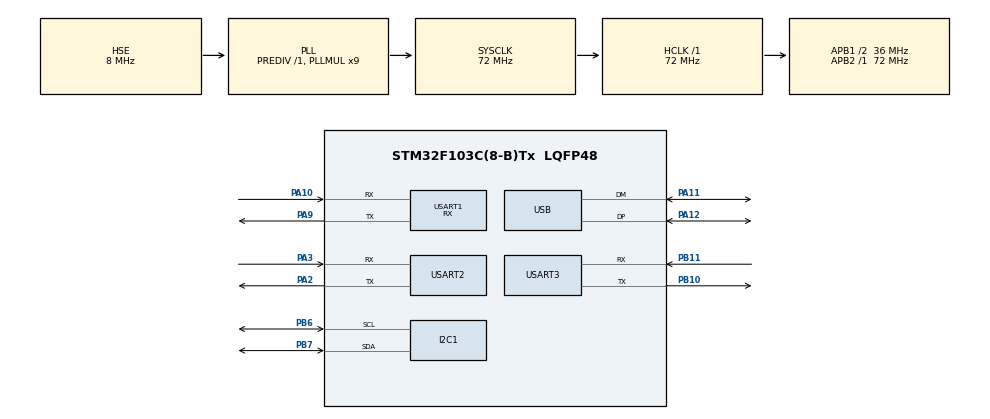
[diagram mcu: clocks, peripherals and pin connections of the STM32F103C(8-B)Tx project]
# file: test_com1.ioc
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FREERTOS.Tasks01=defaultTask,0,128,StartDefaultTask,Default,NULL
Mcu.Family=STM32F1
Mcu.Name=STM32F103C(8-B)Tx
Mcu.Package=LQFP48
NVIC.PriorityGroup=NVIC_PRIORITYGROUP_4
NVIC.TIM1_UP_IRQn=true\:0\:0\:false\:false\:true\:false\:false
NVIC.TimeBase=TIM1_UP_IRQn
NVIC.TimeBaseIP=TIM1
NVIC.USART1_IRQn=true\:5\:0\:false\:false\:true\:true\:true
NVIC.USART2_IRQn=true\:5\:0\:false\:false\:true\:true\:true
NVIC.USART3_IRQn=true\:5\:0\:false\:false\:true\:true\:true
NVIC.USB_HP_CAN1_TX_IRQn=true\:5\:0\:false\:false\:true\:true\:true
NVIC.USB_LP_CAN1_RX0_IRQn=true\:5\:0\:false\:false\:true\:true\:false
PA10.Mode=Asynchronous
PA10.Signal=USART1_RX
PA11.Mode=Device
PA11.Signal=USB_DM
PA12.Mode=Device
PA12.Signal=USB_DP
PA13.Mode=Serial_Wire
PA13.Signal=SYS_JTMS-SWDIO
PA14.Mode=Serial_Wire
PA14.Signal=SYS_JTCK-SWCLK
PA2.Mode=Asynchronous
PA2.Signal=USART2_TX
PA3.Mode=Asynchronous
PA3.Signal=USART2_RX
PA9.Mode=Asynchronous
PA9.Signal=USART1_TX
PB10.Mode=Asynchronous
PB10.Signal=USART3_TX
PB11.Mode=Asynchronous
PB11.Signal=USART3_RX
PB6.Mode=I2C
PB6.Signal=I2C1_SCL
PB7.Mode=I2C
PB7.Signal=I2C1_SDA
PD0-OSC_IN.Mode=HSE-External-Oscillator
PD0-OSC_IN.Signal=RCC_OSC_IN
PD1-OSC_OUT.Mode=HSE-External-Oscillator
PD1-OSC_OUT.Signal=RCC_OSC_OUT
ProjectManager.HeapSize=0x200
ProjectManager.StackSize=0x400
ProjectManager.TargetToolchain=SW4STM32
RCC.AHBFreq_Value=72000000
RCC.APB1CLKDivider=RCC_HCLK_DIV2
RCC.APB1Freq_Value=36000000
RCC.APB1TimFreq_Value=72000000
RCC.APB2Freq_Value=72000000
RCC.APB2TimFreq_Value=72000000
RCC.HCLKFreq_Value=72000000
RCC.PLLMUL=RCC_PLL_MUL9
RCC.PLLSourceVirtual=RCC_PLLSOURCE_HSE
RCC.SYSCLKFreq_VALUE=72000000
RCC.SYSCLKSource=RCC_SYSCLKSOURCE_PLLCLK
RCC.USBFreq_Value=48000000
RCC.USBPrescaler=RCC_USBCLKSOURCE_PLL_DIV1_5
USART1.Mode=MODE_RX
USART1.VirtualMode=VM_ASYNC
USART2.VirtualMode=VM_ASYNC
USART3.VirtualMode=VM_ASYNC
USB_DEVICE.CLASS_NAME_FS=CDC
USB_DEVICE.VirtualMode=Cdc
USB_DEVICE.VirtualModeFS=Cdc_FS
VP_FREERTOS_VS_ENABLE.Mode=Enabled
VP_SYS_VS_tim1.Mode=TIM1
VP_USB_DEVICE_VS_USB_DEVICE_CDC_FS.Mode=CDC_FS
board=custom

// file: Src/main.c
/**
  ******************************************************************************
  * @file           : main.c
  * @brief          : Main program body
  ******************************************************************************
  * This notice applies to any and all portions of this file
  * that are not between comment pairs USER CODE BEGIN and
  * USER CODE END. Other portions of this file, whether
  * inserted by the user or by software development tools
  * are owned by their respective copyright owners.
  *
  * Copyright (c) 2018 STMicroelectronics International N.V.
  * All rights reserved.
  *
  * Redistribution and use in source and binary forms, with or without
  * modification, are permitted, provided that the following conditions are met:
  *
  * 1. Redistribution of source code must retain the above copyright notice,
  *    this list of conditions and the following disclaimer.
  * 2. Redistributions in binary form must reproduce the above copyright notice,
  *    this list of conditions and the following disclaimer in the documentation
  *    and/or other materials provided with the distribution.
  * 3. Neither the name of STMicroelectronics nor the names of other
  *    contributors to this software may be used to endorse or promote products
  *    derived from this software without specific written permission.
  * 4. This software, including modifications and/or derivative works of this
  *    software, must execute solely and exclusively on microcontroller or
  *    microprocessor devices manufactured by or for STMicroelectronics.
  * 5. Redistribution and use of this software other than as permitted under
  *    this license is void and will automatically terminate your rights under
  *    this license.
  *
  * THIS SOFTWARE IS PROVIDED BY STMICROELECTRONICS AND CONTRIBUTORS "AS IS"
  * AND ANY EXPRESS, IMPLIED OR STATUTORY WARRANTIES, INCLUDING, BUT NOT
  * LIMITED TO, THE IMPLIED WARRANTIES OF MERCHANTABILITY, FITNESS FOR A
  * PARTICULAR PURPOSE AND NON-INFRINGEMENT OF THIRD PARTY INTELLECTUAL PROPERTY
  * RIGHTS ARE DISCLAIMED TO THE FULLEST EXTENT PERMITTED BY LAW. IN NO EVENT
  * SHALL STMICROELECTRONICS OR CONTRIBUTORS BE LIABLE FOR ANY DIRECT, INDIRECT,
  * INCIDENTAL, SPECIAL, EXEMPLARY, OR CONSEQUENTIAL DAMAGES (INCLUDING, BUT NOT
  * LIMITED TO, PROCUREMENT OF SUBSTITUTE GOODS OR SERVICES; LOSS OF USE, DATA,
  * OR PROFITS; OR BUSINESS INTERRUPTION) HOWEVER CAUSED AND ON ANY THEORY OF
  * LIABILITY, WHETHER IN CONTRACT, STRICT LIABILITY, OR TORT (INCLUDING
  * NEGLIGENCE OR OTHERWISE) ARISING IN ANY WAY OUT OF THE USE OF THIS SOFTWARE,
  * EVEN IF ADVISED OF THE POSSIBILITY OF SUCH DAMAGE.
  *
  ******************************************************************************
  */
#include "main.h"
#include "stm32f1xx_hal.h"
#include "cmsis_os.h"
#include "usb_device.h"

/* USER CODE BEGIN Includes */
#include "mpu6050.h"
#include "memsense_nanoimu.h"
#include "novatel_gps.h"
/* USER CODE END Includes */

I2C_HandleTypeDef hi2c1;

UART_HandleTypeDef huart1;
UART_HandleTypeDef huart2;
UART_HandleTypeDef huart3;

osThreadId defaultTaskHandle;
osThreadId imuComTaskHandle;
osThreadId gpsComTaskHandle;

/* USER CODE BEGIN PV */
/* Private variables ---------------------------------------------------------*/
typedef struct
{
  uint8_t flag;
  char file[100];
  uint32_t line;
}Error;

Error error;

/* UART status declaration */
__IO ITStatus Uart1Ready = RESET;
__IO ITStatus Uart2Ready = RESET;
__IO ITStatus Uart3Ready = RESET;

/* Imu MPU6050 */
MPU6050Imu imu6050;
/* Novatel GPS OEMV-1 */
NovatelGPS novatelGps;
/* MemSense NanoImu */
MEMSenseImu nanoImu;
int counter;
#define BXYZ_PSTAT    (D_HDR_LEN)
#define BXYZ_PTYPE    (D_HDR_LEN+4)
#define BXYZ_PX     (D_HDR_LEN+8)
#define BXYZ_PY     (D_HDR_LEN+16)
#define BXYZ_PZ     (D_HDR_LEN+24)
#define BXYZ_sPX    (D_HDR_LEN+32)
#define BXYZ_sPY    (D_HDR_LEN+36)
#define BXYZ_sPZ    (D_HDR_LEN+40)

/* USER CODE END PV */

void SystemClock_Config(void);
static void MX_GPIO_Init(void);
static void MX_I2C1_Init(void);
static void MX_USART1_UART_Init(void);
static void MX_USART2_UART_Init(void);
static void MX_USART3_UART_Init(void);
void StartDefaultTask(void const * argument);

/* USER CODE BEGIN PFP */
/* Private function prototypes -----------------------------------------------*/
void ImuComTask(void const * argument);
void GpsComTask(void const * argument);

/* USER CODE END PFP */

int main(void)
{

  /* MCU Configuration----------------------------------------------------------*/

  /* Reset of all peripherals, Initializes the Flash interface and the Systick. */
  HAL_Init();

  /* Configure the system clock */
  SystemClock_Config();

  /* Initialize all configured peripherals */
  MX_GPIO_Init();
  MX_I2C1_Init();
  MX_USART1_UART_Init();
  MX_USART2_UART_Init();
  MX_USART3_UART_Init();
  /* USER CODE BEGIN 2 */

  MPU6050_configDevice(&imu6050, &hi2c1, 0, 0);
  NANOIMU_configDevice(&nanoImu, &huart1);
  NOVATELGPS_configDevice(&novatelGps, &huart2);
  counter = 0;

  /*Init error flag*/
  error.flag = 0;
  error.file[0] = '\0';
  error.line = 0;
  /* USER CODE END 2 */

  /* Create the thread(s) */
  /* definition and creation of defaultTask */
  osThreadDef(defaultTask, StartDefaultTask, osPriorityNormal, 0, 128);
  defaultTaskHandle = osThreadCreate(osThread(defaultTask), NULL);

  /* USER CODE BEGIN RTOS_THREADS */
  /* add threads, ... */

  osThreadDef(imuTask, ImuComTask, osPriorityNormal, 0, 128);
  imuComTaskHandle = osThreadCreate(osThread(imuTask), NULL);

  osThreadDef(gpsTask, GpsComTask, osPriorityNormal, 0, 128);
  gpsComTaskHandle = osThreadCreate(osThread(gpsTask), NULL);
  /* USER CODE END RTOS_THREADS */

  /* Start scheduler */
  osKernelStart();

  /* We should never get here as control is now taken by the scheduler */

  /* Infinite loop */
  while (1)
  {

  }

}

void SystemClock_Config(void)
{

  RCC_OscInitTypeDef RCC_OscInitStruct;
  RCC_ClkInitTypeDef RCC_ClkInitStruct;
  RCC_PeriphCLKInitTypeDef PeriphClkInit;

    /**Initializes the CPU, AHB and APB busses clocks
    */
  RCC_OscInitStruct.OscillatorType = RCC_OSCILLATORTYPE_HSE;
  RCC_OscInitStruct.HSEState = RCC_HSE_ON;
  RCC_OscInitStruct.HSEPredivValue = RCC_HSE_PREDIV_DIV1;
  RCC_OscInitStruct.HSIState = RCC_HSI_ON;
  RCC_OscInitStruct.PLL.PLLState = RCC_PLL_ON;
  RCC_OscInitStruct.PLL.PLLSource = RCC_PLLSOURCE_HSE;
  RCC_OscInitStruct.PLL.PLLMUL = RCC_PLL_MUL9;
  if (HAL_RCC_OscConfig(&RCC_OscInitStruct) != HAL_OK)
  {
    _Error_Handler(__FILE__, __LINE__);
  }

    /**Initializes the CPU, AHB and APB busses clocks
    */
  RCC_ClkInitStruct.ClockType = RCC_CLOCKTYPE_HCLK|RCC_CLOCKTYPE_SYSCLK
                              |RCC_CLOCKTYPE_PCLK1|RCC_CLOCKTYPE_PCLK2;
  RCC_ClkInitStruct.SYSCLKSource = RCC_SYSCLKSOURCE_PLLCLK;
  RCC_ClkInitStruct.AHBCLKDivider = RCC_SYSCLK_DIV1;
  RCC_ClkInitStruct.APB1CLKDivider = RCC_HCLK_DIV2;
  RCC_ClkInitStruct.APB2CLKDivider = RCC_HCLK_DIV1;

  if (HAL_RCC_ClockConfig(&RCC_ClkInitStruct, FLASH_LATENCY_2) != HAL_OK)
  {
    _Error_Handler(__FILE__, __LINE__);
  }

  PeriphClkInit.PeriphClockSelection = RCC_PERIPHCLK_USB;
  PeriphClkInit.UsbClockSelection = RCC_USBCLKSOURCE_PLL_DIV1_5;
  if (HAL_RCCEx_PeriphCLKConfig(&PeriphClkInit) != HAL_OK)
  {
    _Error_Handler(__FILE__, __LINE__);
  }

    /**Configure the Systick interrupt time
    */
  HAL_SYSTICK_Config(HAL_RCC_GetHCLKFreq()/1000);

    /**Configure the Systick
    */
  HAL_SYSTICK_CLKSourceConfig(SYSTICK_CLKSOURCE_HCLK);

  /* SysTick_IRQn interrupt configuration */
  HAL_NVIC_SetPriority(SysTick_IRQn, 15, 0);
}

/* I2C1 init function */
static void MX_I2C1_Init(void)
{

  hi2c1.Instance = I2C1;
  hi2c1.Init.ClockSpeed = 100000;
  hi2c1.Init.DutyCycle = I2C_DUTYCYCLE_2;
  hi2c1.Init.OwnAddress1 = 0;
  hi2c1.Init.AddressingMode = I2C_ADDRESSINGMODE_7BIT;
  hi2c1.Init.DualAddressMode = I2C_DUALADDRESS_DISABLE;
  hi2c1.Init.OwnAddress2 = 0;
  hi2c1.Init.GeneralCallMode = I2C_GENERALCALL_DISABLE;
  hi2c1.Init.NoStretchMode = I2C_NOSTRETCH_DISABLE;
  if (HAL_I2C_Init(&hi2c1) != HAL_OK)
  {
    _Error_Handler(__FILE__, __LINE__);
  }

}

/* USART1 init function */
static void MX_USART1_UART_Init(void)
{

  huart1.Instance = USART1;
  huart1.Init.BaudRate = 115200;
  huart1.Init.WordLength = UART_WORDLENGTH_8B;
  huart1.Init.StopBits = UART_STOPBITS_1;
  huart1.Init.Parity = UART_PARITY_NONE;
  huart1.Init.Mode = UART_MODE_RX;
  huart1.Init.HwFlowCtl = UART_HWCONTROL_NONE;
  huart1.Init.OverSampling = UART_OVERSAMPLING_16;
  if (HAL_UART_Init(&huart1) != HAL_OK)
  {
    _Error_Handler(__FILE__, __LINE__);
  }

}

/* USART2 init function */
static void MX_USART2_UART_Init(void)
{

  huart2.Instance = USART2;
  huart2.Init.BaudRate = 115200;
  huart2.Init.WordLength = UART_WORDLENGTH_8B;
  huart2.Init.StopBits = UART_STOPBITS_1;
  huart2.Init.Parity = UART_PARITY_NONE;
  huart2.Init.Mode = UART_MODE_TX_RX;
  huart2.Init.HwFlowCtl = UART_HWCONTROL_NONE;
  huart2.Init.OverSampling = UART_OVERSAMPLING_16;
  if (HAL_UART_Init(&huart2) != HAL_OK)
  {
    _Error_Handler(__FILE__, __LINE__);
  }

}

/* USART3 init function */
static void MX_USART3_UART_Init(void)
{

  huart3.Instance = USART3;
  huart3.Init.BaudRate = 115200;
  huart3.Init.WordLength = UART_WORDLENGTH_8B;
  huart3.Init.StopBits = UART_STOPBITS_1;
  huart3.Init.Parity = UART_PARITY_NONE;
  huart3.Init.Mode = UART_MODE_TX_RX;
  huart3.Init.HwFlowCtl = UART_HWCONTROL_NONE;
  huart3.Init.OverSampling = UART_OVERSAMPLING_16;
  if (HAL_UART_Init(&huart3) != HAL_OK)
  {
    _Error_Handler(__FILE__, __LINE__);
  }

}

/** Configure pins as
        * Analog
        * Input
        * Output
        * EVENT_OUT
        * EXTI
        * Free pins are configured automatically as Analog (this feature is enabled through
        * the Code Generation settings)
*/
static void MX_GPIO_Init(void)
{

  GPIO_InitTypeDef GPIO_InitStruct;

  /* GPIO Ports Clock Enable */
  __HAL_RCC_GPIOC_CLK_ENABLE();
  __HAL_RCC_GPIOD_CLK_ENABLE();
  __HAL_RCC_GPIOA_CLK_ENABLE();
  __HAL_RCC_GPIOB_CLK_ENABLE();

  /*Configure GPIO pins : PC13 PC14 PC15 */
  GPIO_InitStruct.Pin = GPIO_PIN_13|GPIO_PIN_14|GPIO_PIN_15;
  GPIO_InitStruct.Mode = GPIO_MODE_ANALOG;
  HAL_GPIO_Init(GPIOC, &GPIO_InitStruct);

  /*Configure GPIO pins : PA0 PA1 PA4 PA5
                           PA6 PA7 PA8 PA15 */
  GPIO_InitStruct.Pin = GPIO_PIN_0|GPIO_PIN_1|GPIO_PIN_4|GPIO_PIN_5
                          |GPIO_PIN_6|GPIO_PIN_7|GPIO_PIN_8|GPIO_PIN_15;
  GPIO_InitStruct.Mode = GPIO_MODE_ANALOG;
  HAL_GPIO_Init(GPIOA, &GPIO_InitStruct);

  /*Configure GPIO pins : PB0 PB1 PB2 PB12
                           PB13 PB14 PB15 PB3
                           PB4 PB5 PB8 PB9 */
  GPIO_InitStruct.Pin = GPIO_PIN_0|GPIO_PIN_1|GPIO_PIN_2|GPIO_PIN_12
                          |GPIO_PIN_13|GPIO_PIN_14|GPIO_PIN_15|GPIO_PIN_3
                          |GPIO_PIN_4|GPIO_PIN_5|GPIO_PIN_8|GPIO_PIN_9;
  GPIO_InitStruct.Mode = GPIO_MODE_ANALOG;
  HAL_GPIO_Init(GPIOB, &GPIO_InitStruct);

}

/* USER CODE BEGIN 4 */

/**
  * @brief  Tx Transfer completed callback
  * @param  UartHandle: UART handle.
  * @note   This example shows a simple way to report end of IT Tx transfer, and
  *         you can add your own implementation.
  * @retval None
  */
void HAL_UART_TxCpltCallback(UART_HandleTypeDef *UartHandle)
{
  /* Set transmission flag: transfer complete */
  if (UartHandle->Instance == USART1)
  {
    Uart1Ready = SET;
  }

  if (UartHandle->Instance == USART2)
  {
    Uart2Ready = SET;
  }

  if (UartHandle->Instance == USART3)
  {
    Uart3Ready = SET;
  }

}

/**
  * @brief  Rx Transfer completed callback
  * @param  UartHandle: UART handle
  * @note   This example shows a simple way to report end of IT Rx transfer, and
  *         you can add your own implementation.
  * @retval None
  */
void HAL_UART_RxCpltCallback(UART_HandleTypeDef *UartHandle)
{
  /* Set transmission flag: transfer complete */
  if (UartHandle->Instance == USART1)
  {
    Uart1Ready = SET;
  }

  if (UartHandle->Instance == USART2)
  {
    Uart2Ready = SET;
  }

  if (UartHandle->Instance == USART3)
  {
    Uart3Ready = SET;
  }

}

/**
  * @brief  UART error callbacks
  * @param  UartHandle: UART handle
  * @note   This example shows a simple way to report transfer error, and you can
  *         add your own implementation.
  * @retval None
  */
void HAL_UART_ErrorCallback(UART_HandleTypeDef *UartHandle)
{
  if (UartHandle->Instance == USART1)
  {
    nanoImu.status = HAL_UART_GetError(UartHandle);
    Uart1Ready = SET;
  }

  if (UartHandle->Instance == USART2)
  {
    novatelGps.status = HAL_UART_GetError(UartHandle);
    Uart2Ready = SET;
  }

  if (UartHandle->Instance == USART3)
  {
    Error_Handler();
  }
}

/**
  * @brief  Function implementing the imuTask thread.
  * @param  argument: Not used
  * @retval None
  */
void ImuComTask(void const * argument)
{
  for(;;)
  {
    volatile uint8_t *nano_data = nanoImu.data;
    volatile uint8_t *mpu_data = imu6050.lastData;

    if(HAL_UART_Receive_IT(nanoImu.UARTInterface, nanoImu.data, IMU_PACKET_SIZE) != HAL_OK)
    {
      Error_Handler();
    }

    while (Uart1Ready != SET)
    {
    }

    Uart1Ready = RESET;

    MPU6050_geData(&imu6050);
    counter++;
  }
}

/**
  * @brief  Function implementing the gpsTask thread.
  * @param  argument: Not used
  * @retval None
  */
void GpsComTask(void const * argument)
{

  for(;;)
  {
    // volatile uint8_t *gps_data = novatelGps.messageData;

    // if(HAL_UART_Receive_IT(novatelGps.UARTInterface, novatelGps.messageData, IMU_PACKET_SIZE) != HAL_OK)
    // {
    //   Error_Handler();
    // }

    // while (Uart2Ready != SET)
    // {
    // }

    // Uart2Ready = RESET;
    osDelay(50);
  }
}

/* USER CODE END 4 */

void StartDefaultTask(void const * argument)
{
  /* init code for USB_DEVICE */
  MX_USB_DEVICE_Init();

  /* USER CODE BEGIN 5 */
  uint8_t message[800];
  /* Infinite loop */
  for(;;)
  {

    if (error.flag)
    {
      message[0] = '{'
      /* code */
      char str[12];
      char atr[12];
      sprintf(str, "status %d\n", nanoImu.status);
      CDC_Transmit_FS(str, strlen(str));
      sprintf(atr, "led %d\n", counter);
      CDC_Transmit_FS(atr, strlen(atr));
    }
    else
    {

    }
    // CDC_Transmit_FS(nanoImu.data, IMU_PACKET_SIZE);
    /*100 Hz*/
    osDelay(100);
  }
  /* USER CODE END 5 */
}

void HAL_TIM_PeriodElapsedCallback(TIM_HandleTypeDef *htim)
{
  if (htim->Instance == TIM1) {
    HAL_IncTick();
  }
}

void _Error_Handler(char *file, int line)
{
  /* USER CODE BEGIN Error_Handler_Debug */
  /* User can add his own implementation to report the HAL error return state */
  while(1)
  {
    error.flag = 1;
    strcpy(error.file, file);
    error.line = line;
    break;
  }
  /* USER CODE END Error_Handler_Debug */
}

/************************ (C) COPYRIGHT STMicroelectronics *****END OF FILE****/
